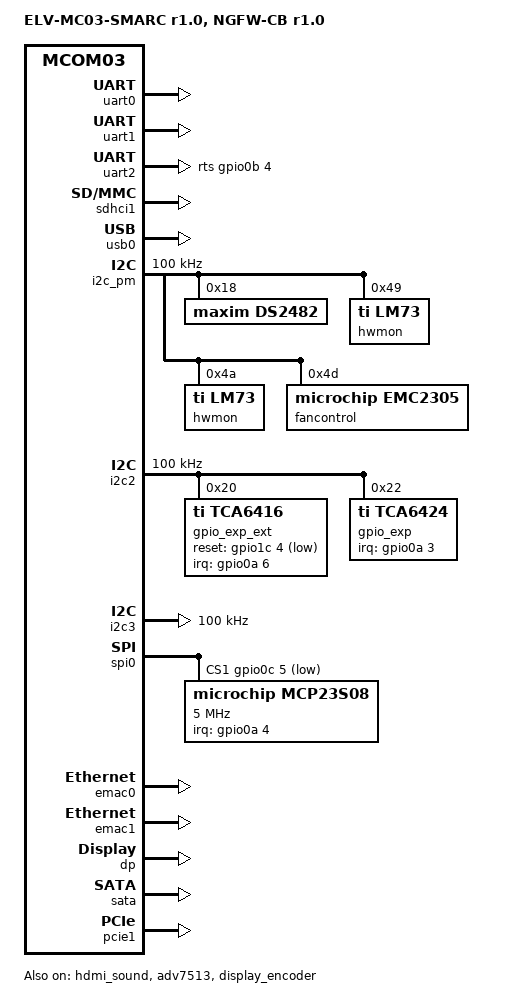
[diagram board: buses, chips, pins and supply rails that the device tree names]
// SPDX-License-Identifier: GPL-2.0+
/*
 * Copyright 2021 RnD Center "ELVEES", JSC
 */

/dts-v1/;

#include <dt-bindings/gpio/gpio.h>
#include <dt-bindings/net/ti-dp83869.h>

#include "mcom03-elvmc03smarc-r1.0.dtsi"

/ {
	model = "ELV-MC03-SMARC r1.0, NGFW-CB r1.0";
	compatible = "elvees,elvmc03smarc-r1.0-ngfwcb-r1.0",
		     "elvees,elvmc03smarc-ngfwcb",
		     "elvees,ngfwcb-r1.0",
		     "elvees,ngfwcb",
		     "elvees,elvmc03smarc-r1.0",
		     "elvees,elvmc03smarc",
		     "elvees,mcom03";

	chosen {
		stdout-path = "serial0:115200n8";
		bootargs = "earlycon console=ttyS0,115200";
	};

	elvmc03smarc-leds {
		/* red led uses GPIO0_PORTC3 that required for SPI0 */
		/delete-node/ red;
	};
};

/* Connected to USB Type-C plug through CP2102N */
&uart0 {
	status = "okay";
};

/* Connected to mPCIe */
&uart1 {
	status = "okay";
};

/* Connected to RJ-45 through RS-485 transceiver */
&uart2 {
	status = "okay";
	rts-gpios = <&gpio0b 4 GPIO_ACTIVE_HIGH>;
};

/* Connected to MicroSD card */
&sdhci1 {
	status = "okay";

	/* Unstable at 25 MHz on NGFW CB */
	max-frequency = <12000000>;

	/* Disable High Speed support
	 * Disable 1.8V support
	 * Disable SDR50, SDR104 and DDR50 support
	 */
	sdhci-caps-mask = <0x7 0x4200000>;
	sdhci-caps = <0x0 0x0>;
};

&sdhci1_default {
	/* The default clock pad drive strength of 6 mA is insufficient
	 * for some NGFW-CBs resulting in unstable SDMMC performance,
	 * especially at higher CPU temperatures.
	 */
	clk {
		pins = "SDMMC1_CLK";
		drive-strength = <8>;
	};
};

/* Connected to USB 3.0 hub */
&usb0 {
	status = "okay";
};

&i2c_pm {
	/* Not all devices are checked to 400kHz support */
	clock-frequency = <100000>;
	status = "okay";

	ds2482: 1wire@18 {
		compatible = "maxim,ds2482";
		reg = <0x18>;
	};

	hwmon@49 {
		compatible = "ti,lm73";
		reg = <0x49>;
	};

	hwmon@4a {
		compatible = "ti,lm73";
		reg = <0x4a>;
	};

	fancontrol: emc2303@4d {
		compatible = "microchip,emc2305";
		reg = <0x4d>;
		#address-cells = <1>;
		#size-cells = <0>;
		microchip,pwm-separate;
		#cooling-cells = <2>;

		channel@0 {
			reg = <0>;
			microchip,pwm-push-pull;
		};

		channel@1 {
			reg = <1>;
			microchip,pwm-push-pull;
		};

		channel@2 {
			reg = <2>;
			microchip,pwm-push-pull;
		};
	};
};

&i2c2 {
	/* Not all devices are checked to 400kHz support */
	clock-frequency = <100000>;
	status = "okay";

	gpio_exp_ext: gpio-expander@20 {
		compatible = "ti,tca6416";
		reg = <0x20>;
		reset-gpios = <&gpio1c 4 GPIO_ACTIVE_LOW>;
		gpio-controller;
		#gpio-cells = <2>;
		interrupts-extended = <&gpio0a 6 IRQ_TYPE_EDGE_FALLING>;
		interrupt-controller;
		#interrupt-cells = <2>;
	};

	gpio_exp: gpio-expander@22 {
		compatible = "ti,tca6424";
		reg = <0x22>;
		gpio-controller;
		#gpio-cells = <2>;
		interrupts-extended = <&gpio0a 3 IRQ_TYPE_EDGE_FALLING>;
		interrupt-controller;
		#interrupt-cells = <2>;
		gpio-line-names =
			"WAN_nRST", "LAN_nRST", "WAN_nPERST", "LAN_nPERST",
			"USB_HUB_nRST", "PEX_THRM_ALERT", "PE_X4_nRST",
			"PE_X4_nPRSNT", "WIFI_nPERST", "WIFI_nDISABLE_1",
			"WIFI_nDISABLE_2", "mPCIE_PERST", "mPCIE_WDISABLE",
			"5G_RESET", "5G_nPOWER_OFF", "5G_nPERSTR",
			"5G_nW_DISABLE1", "5G_nW_DISABLE1", "EN_3V3_WIFI",
			"EN_3V3_mPCIe", "EN_3V8_5G", "EN_3V3_SATA", "EN_5V_USB",
			"USER_LED";
		usb-hub-hog {
			gpio-hog;
			gpios = <22 GPIO_ACTIVE_HIGH>;
			output-high;
		};
		wan-hog {
			gpio-hog;
			gpios = <0 GPIO_ACTIVE_HIGH>, <2 GPIO_ACTIVE_HIGH>;
			output-high;
		};
		lan-hog {
			gpio-hog;
			gpios = <1 GPIO_ACTIVE_HIGH>, <3 GPIO_ACTIVE_HIGH>;
			output-high;
		};
		pe-x4-hog {
			gpio-hog;
			gpios = <6 GPIO_ACTIVE_HIGH>;
			output-high;
		};
		wifi-hog {
			gpio-hog;
			gpios = <8 GPIO_ACTIVE_HIGH>, <9 GPIO_ACTIVE_HIGH>,
				<10 GPIO_ACTIVE_HIGH>, <18 GPIO_ACTIVE_HIGH>;
			output-high;
		};
		mpcie-hog {
			gpio-hog;
			gpios = <11 GPIO_ACTIVE_HIGH>, <12 GPIO_ACTIVE_HIGH>,
				<19 GPIO_ACTIVE_HIGH>;
			output-high;
		};
		5g-hog {
			gpio-hog;
			gpios = <13 GPIO_ACTIVE_LOW>, <14 GPIO_ACTIVE_HIGH>,
				<15 GPIO_ACTIVE_HIGH>, <16 GPIO_ACTIVE_HIGH>,
				<17 GPIO_ACTIVE_HIGH>, <20 GPIO_ACTIVE_HIGH>;
			output-high;
		};
		sata-hog {
			gpio-hog;
			gpios = <21 GPIO_ACTIVE_HIGH>;
			output-high;
		};
	};
};

&i2c3 {
	/* Not all devices are checked to 400kHz support */
	clock-frequency = <100000>;
	status = "okay";
};

&spi0 {
	status = "okay";
	num-cs = <2>;
	cs-gpios = <&gpio0c 4 GPIO_ACTIVE_LOW>, <&gpio0c 5 GPIO_ACTIVE_LOW>;

	mcp23s08: gpio-expander@1 {
		compatible = "microchip,mcp23s08";
		reg = <1>;
		#gpio-cells = <2>;
		gpio-controller;
		interrupt-parent = <&gpio0a>;
		interrupts = <4 IRQ_TYPE_LEVEL_LOW>;
		#interrupt-cells = <2>;
		interrupt-controller;
		spi-max-frequency = <5000000>;
		microchip,spi-present-mask = <0x1>;
		gpio-line-names = "BUTTON_RIGHT", "BUTTON_UP", "BUTTON_OK",
				  "BUTTON_DOWN", "BUTTON_LEFT", "BUZZER",
				  "", "";
	};
};

/* Connected to RJ-45 (Crypto #0) */
&emac0 {
	status = "okay";
};

/* Connected to RJ-45 (Crypto #1) */
&emac1 {
	status = "okay";
};

/* Board have video output interface */
&dp {
	status = "okay";
};

&hdmi_sound {
	status = "okay";
};

/* Connected to HDMI plug */
&adv7513 {
	status = "okay";
};

&display_encoder {
	status = "okay";
	video-output = "rgb";
};

/* Connected to SATA plug */
&sata {
	status = "okay";
};

/* Connected to PCIe bridge */
&pcie1 {
	status = "okay";

	dwc-pcie@0,0 {
		reg = <0 0 0 0 0>;
		#address-cells = <3>;
		#size-cells = <2>;

		plx-pex@1,0 {
			reg = <0 0 0 0 0>;
			#address-cells = <3>;
			#size-cells = <2>;

			plx-pex@2,5 {
				reg = <0x2800 0 0 0 0>;
				#address-cells = <3>;
				#size-cells = <2>;

				lan7431@7,0 {
					reg = <0 0 0 0 0>;
					#address-cells = <1>;
					#size-cells = <0>;
					phy-connection-type = "rgmii-rxid";
					phy-handle = <&ethernet_phy>;

					ethernet_phy: ethernet-phy@0 {
						reg = <0>;
						ti,op-mode = <DP83869_RGMII_COPPER_ETHERNET>;
						ti,clk-output-sel = <DP83869_CLK_O_SEL_125MHZ>;
						rx-fifo-depth = <DP83869_PHYCR_FIFO_DEPTH_8_B_NIB>;
						tx-fifo-depth = <DP83869_PHYCR_FIFO_DEPTH_8_B_NIB>;
						enet-phy-lane-swap;
					};
				};
			};
		};
	};
};

/*
 * The fans are enabled on boot (a hardware feature).
 * The fan controller driver disables them if the CPU temperature is
 * lower than the trip point.
 * Upon reaching the trip point the thermal subsystem driver enables the fans.
 *
 * Thermal zones can be enabled/disabled via sysfs by writing said state into
 * the corresponding /sys/class/thermal/thermal_zoneX/mode file.
 */
&cpu_thermal {
	cooling_maps: cooling-maps {
		map0 {
			trip = <&cpu_alert0>;
			cooling-device = <&fancontrol
					  THERMAL_NO_LIMIT
					  THERMAL_NO_LIMIT>;
		};
	};
};
